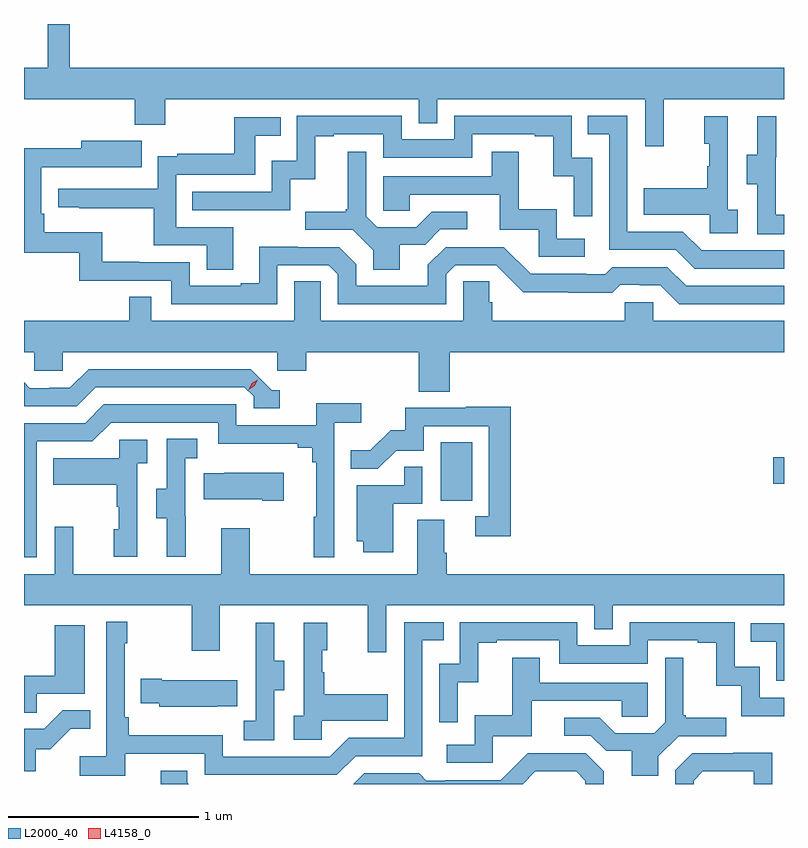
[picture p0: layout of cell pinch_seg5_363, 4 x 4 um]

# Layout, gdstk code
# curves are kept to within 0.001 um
import gdstk
lib = gdstk.Library(unit=1e-6, precision=1e-09)
def R(c, l, rs):  # rectangles x0, y0, x1, y1
    for r in rs: c.add(gdstk.rectangle(r[:2], r[2:], *l))
def P(c, l, *ps):  # polygons
    for p in ps: c.add(gdstk.Polygon(p, *l))
L2000_40 = (2000, 40)
L4158_0 = (4158, 0)

pinch_seg5_363 = lib.new_cell('pinch_seg5_363')
R(pinch_seg5_363, L2000_40, [(1014.068,881.286,1014.232,881.593), (1015.818,881.374,1015.874,881.516)])
P(pinch_seg5_363, L2000_40, [(1012.457,883.265),(1012.617,883.265),(1012.617,883.4),(1013.952,883.4),(1013.952,883.273),(1014.048,883.273),(1014.048,883.4),(1015.143,883.4),(1015.143,883.152),(1015.241,883.152),(1015.241,883.4),(1015.874,883.4),(1015.874,883.564),(1012.115,883.564),(1012.115,883.795),(1011.998,883.795),(1011.998,883.564),(1011.874,883.564),(1011.874,883.4),(1012.457,883.4)],
  [(1015.874,882.603),(1015.44,882.603),(1015.341,882.702),(1015.05,882.702),(1015.05,883.311),(1014.841,883.311),(1014.841,883.215),(1014.954,883.215),(1014.954,882.606),(1015.304,882.606),(1015.403,882.507),(1015.874,882.507)],
  [(1014.864,883.092),(1014.756,883.092),(1014.756,883.311),(1014.138,883.311),(1014.138,883.188),(1013.862,883.188),(1013.862,883.311),(1013.31,883.311),(1013.31,883.075),(1013.178,883.075),(1013.178,882.912),(1012.759,882.912),(1012.759,882.816),(1013.274,882.816),(1013.274,882.977),(1013.407,882.977),(1013.407,883.203),(1013.503,883.203),(1013.503,883.215),(1013.766,883.215),(1013.766,883.092),(1014.234,883.092),(1014.234,883.215),(1014.563,883.215),(1014.563,883.203),(1014.659,883.203),(1014.659,882.995),(1014.768,882.995),(1014.768,882.783),(1014.864,882.783)],
  [(1015.874,882.791),(1015.83,882.791),(1015.83,883.095),(1015.832,883.095),(1015.832,883.309),(1015.733,883.309),(1015.733,883.107),(1015.679,883.107),(1015.679,882.952),(1015.734,882.952),(1015.734,882.688),(1015.874,882.688)],
  [(1015.63,882.818),(1015.578,882.818),(1015.578,883.309),(1015.454,883.309),(1015.454,883.164),(1015.48,883.164),(1015.48,883.046),(1015.47,883.046),(1015.47,882.931),(1015.135,882.931),(1015.135,882.791),(1015.482,882.791),(1015.482,882.693),(1015.63,882.693)],
  [(1012.975,882.726),(1012.674,882.726),(1012.674,883.002),(1013.091,883.002),(1013.091,883.208),(1013.225,883.208),(1013.225,883.305),(1012.98,883.305),(1012.98,883.111),(1012.681,883.111),(1012.681,883.099),(1012.578,883.099),(1012.578,882.927),(1012.053,882.927),(1012.053,882.831),(1012.165,882.831),(1012.165,882.826),(1012.558,882.826),(1012.558,882.63),(1012.835,882.63),(1012.835,882.502),(1012.975,882.502)],
  [(1013.208,882.525),(1013.478,882.525),(1013.526,882.477),(1013.526,882.321),(1014.096,882.321),(1014.096,882.477),(1014.144,882.525),(1014.36,882.525),(1014.502,882.383),(1014.738,882.383),(1014.738,882.381),(1014.971,882.381),(1015.013,882.423),(1015.116,882.423),(1015.116,882.42),(1015.223,882.42),(1015.322,882.321),(1015.874,882.321),(1015.874,882.417),(1015.359,882.417),(1015.26,882.516),(1014.971,882.516),(1014.932,882.477),(1014.833,882.477),(1014.833,882.48),(1014.54,882.48),(1014.399,882.621),(1014.093,882.621),(1013.999,882.527),(1013.999,882.417),(1013.622,882.417),(1013.622,882.531),(1013.532,882.621),(1013.316,882.621),(1013.316,882.623),(1013.111,882.623),(1013.111,882.43),(1013.015,882.43),(1013.015,882.417),(1012.746,882.417),(1012.746,882.54),(1012.481,882.54),(1012.481,882.545),(1012.285,882.545),(1012.285,882.7),(1011.98,882.7),(1011.98,882.796),(1011.966,882.796),(1011.966,883.041),(1012.493,883.04),(1012.493,883.18),(1012.175,883.18),(1012.175,883.142),(1011.874,883.142),(1011.874,882.591),(1012.164,882.591),(1012.164,882.444),(1012.65,882.444),(1012.65,882.321),(1013.208,882.321)],
  [(1013.851,882.634),(1013.986,882.634),(1014.066,882.714),(1014.208,882.714),(1014.208,882.807),(1014.02,882.807),(1013.939,882.726),(1013.733,882.726),(1013.676,882.783),(1013.676,883.123),(1013.579,883.123),(1013.579,882.82),(1013.568,882.82),(1013.568,882.808),(1013.355,882.808),(1013.355,882.711),(1013.604,882.711),(1013.711,882.604),(1013.711,882.502),(1013.851,882.502)],
  [(1014.826,882.666),(1014.678,882.666),(1014.678,882.82),(1014.479,882.82),(1014.479,883.123),(1014.335,883.123),(1014.335,882.993),(1013.766,882.993),(1013.766,882.813),(1013.903,882.813),(1013.903,882.897),(1014.377,882.897),(1014.377,882.711),(1014.582,882.711),(1014.582,882.57),(1014.826,882.57)],
  [(1014.116,882.068),(1015.874,882.068),(1015.874,882.232),(1015.185,882.232),(1015.185,882.33),(1015.035,882.33),(1015.035,882.232),(1014.338,882.232),(1014.338,882.33),(1014.323,882.33),(1014.323,882.44),(1014.186,882.44),(1014.186,882.232),(1013.436,882.232),(1013.436,882.44),(1013.297,882.44),(1013.297,882.232),(1012.545,882.232),(1012.545,882.359),(1012.429,882.359),(1012.429,882.232),(1011.874,882.232),(1011.874,882.068),(1011.927,882.068),(1011.927,881.97),(1012.077,881.97),(1012.077,882.068),(1013.208,882.068),(1013.208,881.97),(1013.36,881.97),(1013.36,882.068),(1013.951,882.068),(1013.951,881.86),(1014.116,881.86)],
  [(1013.221,881.868),(1013.178,881.868),(1013.067,881.979),(1012.214,881.979),(1012.115,881.88),(1012.008,881.88),(1012.008,881.877),(1011.905,881.877),(1011.874,881.909),(1011.874,881.784),(1012.152,881.784),(1012.251,881.883),(1013.034,881.883),(1013.082,881.835),(1013.082,881.772),(1013.221,881.772)],
  [(1011.942,881.598),(1012.233,881.598),(1012.332,881.697),(1012.896,881.697),(1012.896,881.585),(1013.315,881.585),(1013.315,881.566),(1013.392,881.566),(1013.392,881.489),(1013.411,881.489),(1013.411,881.201),(1013.4,881.201),(1013.4,880.989),(1013.508,880.989),(1013.508,881.696),(1013.65,881.696),(1013.65,881.798),(1013.411,881.798),(1013.411,881.682),(1012.992,881.682),(1012.992,881.793),(1012.295,881.793),(1012.196,881.694),(1011.874,881.694),(1011.874,880.989),(1011.942,880.989)],
  [(1014.437,881.78),(1014.199,881.78),(1014.199,881.775),(1013.881,881.775),(1013.881,881.658),(1013.804,881.658),(1013.697,881.551),(1013.593,881.551),(1013.593,881.453),(1013.737,881.453),(1013.834,881.55),(1013.979,881.55),(1013.979,881.679),(1014.321,881.679),(1014.321,881.205),(1014.249,881.205),(1014.249,881.1),(1014.437,881.1)],
  [(1012.724,881.205),(1012.722,881.205),(1012.722,881.509),(1012.786,881.509),(1012.786,881.612),(1012.626,881.612),(1012.626,881.349),(1012.571,881.349),(1012.571,881.194),(1012.625,881.194),(1012.625,880.992),(1012.724,880.992)],
  [(1012.47,881.483),(1012.522,881.483),(1012.522,881.607),(1012.374,881.607),(1012.374,881.509),(1012.027,881.509),(1012.027,881.369),(1012.362,881.369),(1012.362,881.255),(1012.372,881.255),(1012.372,881.136),(1012.346,881.136),(1012.346,880.992),(1012.47,880.992)],
  [(1013.818,881.271),(1013.97,881.271),(1013.97,881.465),(1013.875,881.465),(1013.875,881.367),(1013.624,881.367),(1013.624,881.072),(1013.66,881.072),(1013.66,881.016),(1013.818,881.016)],
  [(1013.242,881.434),(1012.927,881.434),(1012.927,881.431),(1012.819,881.431),(1012.819,881.294),(1013.129,881.294),(1013.129,881.287),(1013.242,881.287)],
  [(1013.781,880.736),(1014.876,880.736),(1014.876,880.609),(1014.972,880.609),(1014.972,880.736),(1015.874,880.736),(1015.874,880.9),(1014.098,880.9),(1014.098,881.012),(1014.085,881.012),(1014.085,881.186),(1013.945,881.186),(1013.945,880.9),(1013.061,880.9),(1013.061,881.14),(1012.913,881.14),(1012.913,880.9),(1012.133,880.9),(1012.133,881.149),(1012.035,881.149),(1012.035,880.9),(1011.874,880.9),(1011.874,880.736),(1012.756,880.736),(1012.756,880.497),(1012.903,880.497),(1012.903,880.736),(1013.684,880.736),(1013.684,880.488),(1013.781,880.488)],
  [(1012.406,879.954),(1012.824,879.954),(1012.824,879.843),(1013.521,879.843),(1013.62,879.942),(1013.97,879.942),(1013.97,880.551),(1014.083,880.551),(1014.083,880.647),(1013.874,880.647),(1013.874,880.038),(1013.583,880.038),(1013.484,879.939),(1012.92,879.939),(1012.92,880.051),(1012.424,880.051),(1012.424,880.147),(1012.404,880.147),(1012.404,880.535),(1012.417,880.535),(1012.417,880.648),(1012.308,880.648),(1012.308,879.94),(1012.167,879.94),(1012.167,879.838),(1012.406,879.838)],
  [(1014.156,880.331),(1014.266,880.331),(1014.266,880.539),(1014.361,880.539),(1014.361,880.551),(1014.69,880.551),(1014.69,880.428),(1015.158,880.428),(1015.158,880.551),(1015.421,880.551),(1015.421,880.539),(1015.517,880.539),(1015.517,880.313),(1015.65,880.313),(1015.65,880.152),(1015.874,880.152),(1015.874,880.248),(1015.746,880.248),(1015.746,880.411),(1015.614,880.411),(1015.614,880.647),(1015.062,880.647),(1015.062,880.524),(1014.786,880.524),(1014.786,880.647),(1014.168,880.647),(1014.168,880.428),(1014.06,880.428),(1014.06,880.119),(1014.156,880.119)],
  [(1013.442,880.127),(1013.789,880.127),(1013.789,880.267),(1013.455,880.267),(1013.455,880.382),(1013.445,880.382),(1013.445,880.5),(1013.47,880.5),(1013.47,880.645),(1013.346,880.645),(1013.346,880.154),(1013.295,880.154),(1013.295,880.029),(1013.442,880.029)],
  [(1013.19,880.288),(1013.245,880.288),(1013.245,880.443),(1013.191,880.443),(1013.191,880.645),(1013.093,880.645),(1013.093,880.431),(1013.094,880.431),(1013.094,880.127),(1013.031,880.127),(1013.031,880.024),(1013.19,880.024)],
  [(1015.874,880.641),(1015.699,880.641),(1015.699,880.544),(1015.834,880.544),(1015.834,880.338),(1015.874,880.338)],
  [(1011.941,880.269),(1012.195,880.269),(1012.195,880.63),(1012.037,880.63),(1012.037,880.365),(1011.874,880.365),(1011.874,880.171),(1011.941,880.171)],
  [(1015.213,879.94),(1015.32,880.047),(1015.57,880.047),(1015.57,880.144),(1015.357,880.144),(1015.357,880.156),(1015.345,880.156),(1015.345,880.459),(1015.248,880.459),(1015.248,880.119),(1015.191,880.062),(1014.985,880.062),(1014.904,880.143),(1014.717,880.143),(1014.717,880.05),(1014.858,880.05),(1014.938,879.97),(1015.073,879.97),(1015.073,879.838),(1015.213,879.838)],
  [(1014.342,880.047),(1014.547,880.047),(1014.547,880.233),(1015.021,880.233),(1015.021,880.149),(1015.158,880.149),(1015.158,880.329),(1014.589,880.329),(1014.589,880.459),(1014.445,880.459),(1014.445,880.156),(1014.246,880.156),(1014.246,880.002),(1014.099,880.002),(1014.099,879.906),(1014.342,879.906)],
  [(1012.889,880.205),(1012.997,880.205),(1012.997,880.342),(1012.6,880.342),(1012.6,880.35),(1012.489,880.35),(1012.489,880.22),(1012.587,880.22),(1012.587,880.202),(1012.889,880.202)],
  [(1011.936,879.978),(1012.012,879.978),(1012.119,880.085),(1012.223,880.085),(1012.223,880.184),(1012.079,880.184),(1011.981,880.086),(1011.874,880.086),(1011.874,879.861),(1011.936,879.861)],
  [(1015.398,879.813),(1015.446,879.861),(1015.716,879.861),(1015.716,879.795),(1015.813,879.795),(1015.813,879.959),(1015.608,879.959),(1015.608,879.957),(1015.392,879.957),(1015.302,879.867),(1015.302,879.795),(1015.398,879.795)],
  [(1014.564,879.861),(1014.78,879.861),(1014.828,879.813),(1014.828,879.795),(1014.925,879.795),(1014.925,879.863),(1014.831,879.957),(1014.525,879.957),(1014.384,879.816),(1014.091,879.816),(1014.091,879.813),(1013.992,879.813),(1013.953,879.852),(1013.664,879.852),(1013.607,879.795),(1014.498,879.795)],
  [(1012.734,879.801),(1012.734,879.864),(1012.595,879.864),(1012.595,879.795),(1012.74,879.795)])
P(pinch_seg5_363, L4158_0, [(1013.056,881.87),(1013.056,881.871),(1013.073,881.903),(1013.104,881.923),(1013.104,881.923),(1013.104,881.922),(1013.088,881.89),(1013.057,881.87)])

lib.write_gds('pinch_seg5_363.gds')
